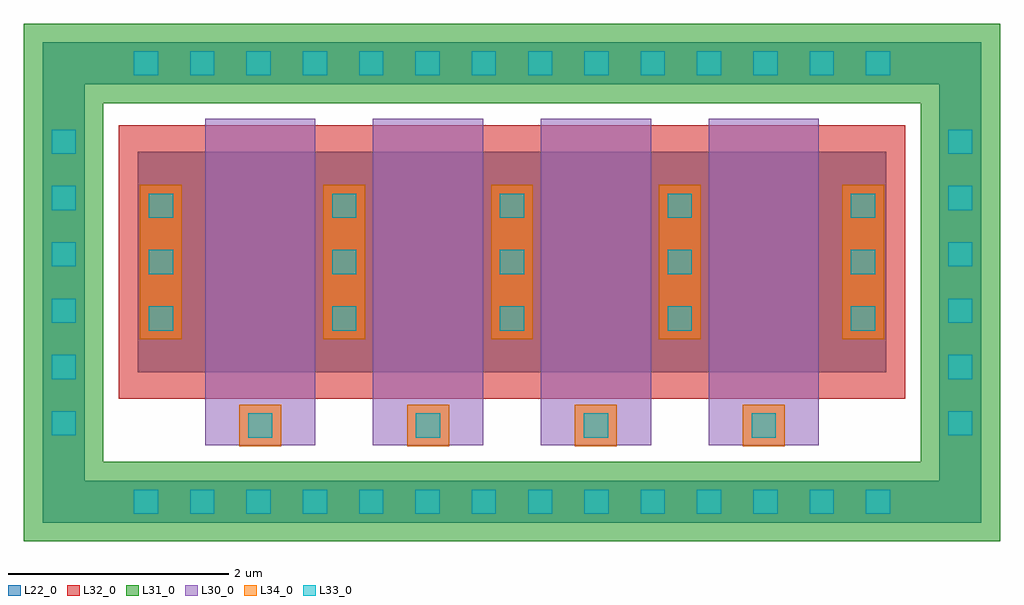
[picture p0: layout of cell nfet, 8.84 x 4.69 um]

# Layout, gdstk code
import gdstk
lib = gdstk.Library(unit=1e-6, precision=5e-09)
def R(c, l, rs):  # rectangles x0, y0, x1, y1
    for r in rs: c.add(gdstk.rectangle(r[:2], r[2:], *l))
def A(c, l, x, y, w, h, nx, ny, dx, dy):  # array of equal rectangles
    R(c, l, [(x+i*dx, y+j*dy, x+i*dx+w, y+j*dy+h) for i in range(nx) for j in range(ny)])
def P(c, l, *ps):  # polygons
    for p in ps: c.add(gdstk.Polygon(p, *l))
L22_0 = (22, 0)
L30_0 = (30, 0)
L31_0 = (31, 0)
L32_0 = (32, 0)
L33_0 = (33, 0)
L34_0 = (34, 0)

nfet = lib.new_cell('nfet')
R(nfet, L22_0, [(-0.42,0,0,2), (0,0,5.94,2), (5.94,0,6.36,2)])
P(nfet, L22_0, [(-1.28,-1.36),(-1.28,2.61),(-0.9,2.61),(-0.9,-0.98),(6.84,-0.98),(6.84,2.61),(-1.28,2.61),(-1.28,2.99),(7.22,2.99),(7.22,-1.36)])
A(nfet, L30_0, 0.19, -0.66, 1, 0.36, 4, 1, 1.52, 0)
A(nfet, L30_0, 0.19, -0.3, 1, 2.6, 4, 1, 1.52, 0)
P(nfet, L31_0, [(-1.45,-1.53),(-1.45,2.44),(-0.73,2.44),(-0.73,-0.81),(6.67,-0.81),(6.67,2.44),(-1.45,2.44),(-1.45,3.16),(7.39,3.16),(7.39,-1.53)])
R(nfet, L32_0, [(-0.59,-0.24,6.53,2.24)])
A(nfet, L33_0, -0.455, -1.28, 0.22, 0.22, 14, 2, 0.51, 3.97)
A(nfet, L33_0, 0.58, -0.59, 0.22, 0.22, 4, 1, 1.52, 0)
A(nfet, L33_0, -1.2, -0.57, 0.22, 0.22, 1, 6, 0, 0.51)
A(nfet, L33_0, 6.92, -0.57, 0.22, 0.22, 1, 6, 0, 0.51)
A(nfet, L33_0, -0.32, 0.38, 0.22, 0.22, 1, 3, 0, 0.51)
A(nfet, L33_0, 1.34, 0.38, 0.22, 0.22, 3, 3, 1.52, 0.51)
A(nfet, L33_0, 6.04, 0.38, 0.22, 0.22, 1, 3, 0, 0.51)
A(nfet, L34_0, 0.5, -0.67, 0.38, 0.38, 4, 1, 1.52, 0)
A(nfet, L34_0, 1.26, 0.3, 0.38, 1.4, 3, 1, 1.52, 0)
R(nfet, L34_0, [(-0.4,0.3,-0.02,1.7), (5.96,0.3,6.34,1.7)])

lib.write_gds('nfet.gds')
